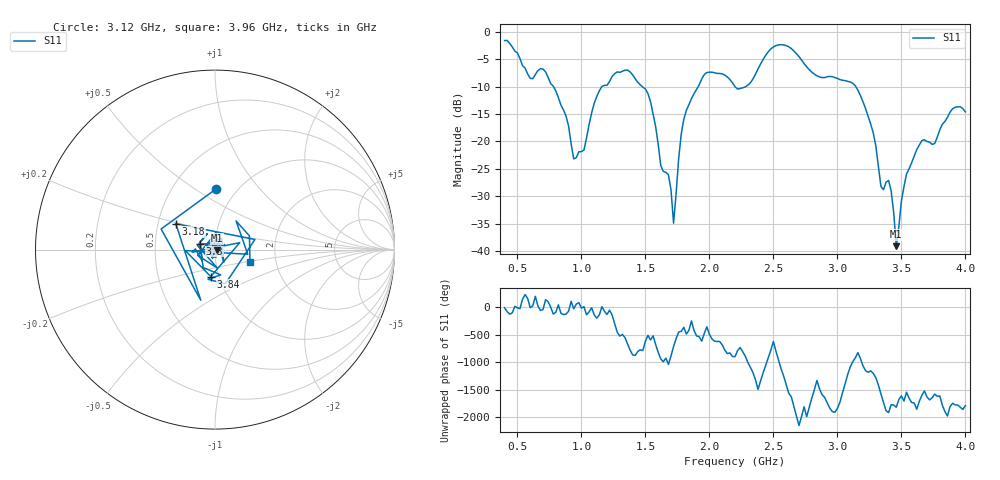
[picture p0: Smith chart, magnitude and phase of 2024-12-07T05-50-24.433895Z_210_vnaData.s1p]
!Created with skrf (http://scikit-rf.org).
# Hz S RI R 50.0
!freq ReS11 ImS11
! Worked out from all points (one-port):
!   181 points, 400 MHz to 4 GHz, reference 50 ohm
!   lowest |S11| = -39.1 dB at 3.46 GHz (marker M1), VSWR 1.02, Z = 51.1 - j0.373 ohm
!   |S11| at or under -10 dB: 782 MHz to 1.16 GHz (377.6 MHz wide, 38.9 % of centre); 1.475 GHz to 1.912 GHz (437.8 MHz wide, 25.9 % of centre); 3.144 GHz to end of sweep (the widest 3 of 4)
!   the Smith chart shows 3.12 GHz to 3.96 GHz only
!   S11 on the Smith chart (normalised r, x): 3.12 GHz: 0.80, +0.61; 3.18 GHz: 0.62, +0.19; 3.3 GHz: 0.84, +0.06; 3.84 GHz: 0.91, -0.28; 3.96 GHz: 1.47, -0.21
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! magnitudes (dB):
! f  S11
! 400 MHz  -1.6
! 600 MHz  -8.5
! 720 MHz  -7.3
! 860 MHz  -14.3
! 960 MHz  -23.0
! 1.14 GHz  -10.8
! 1.3 GHz  -7.4
! 1.52 GHz  -11.3
! 1.62 GHz  -24.4
! 1.68 GHz  -26.1
! 1.72 GHz  -34.9
! 1.76 GHz  -23.1
! 1.82 GHz  -14.3
! 1.96 GHz  -7.8
! 2.2 GHz  -10.0
! 2.5 GHz  -2.8
! 2.66 GHz  -3.5
! 3.1 GHz  -9.2
! 3.12 GHz  -9.4
! 3.18 GHz  -11.6
! 3.3 GHz  -20.8
! 3.34 GHz  -28.2
! 3.42 GHz  -29.0
! 3.46 GHz  -39.1
! 3.56 GHz  -25.0
! 3.84 GHz  -16.4
! 3.96 GHz  -13.7
! 4 GHz  -14.6
